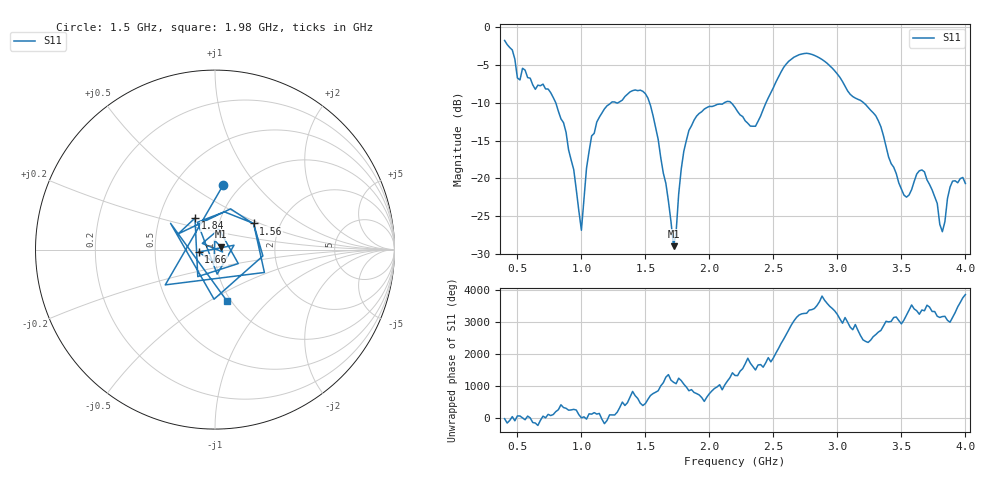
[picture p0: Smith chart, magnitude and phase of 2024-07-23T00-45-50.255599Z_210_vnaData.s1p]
!Created with skrf (http://scikit-rf.org).
# Hz S RI R 50.0
!freq ReS11 ImS11
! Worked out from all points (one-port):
!   181 points, 400 MHz to 4 GHz, reference 50 ohm
!   lowest |S11| = -29.0 dB at 1.72 GHz (marker M1), VSWR 1.07, Z = 53.2 + j1.74 ohm
!   |S11| at or under -10 dB: 800.1 MHz to 1.231 GHz (430.9 MHz wide, 42.4 % of centre); 1.533 GHz to 2.115 GHz (582.3 MHz wide, 31.9 % of centre); 3.206 GHz to end of sweep (the widest 3 of 5)
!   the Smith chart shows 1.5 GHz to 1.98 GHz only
!   S11 on the Smith chart (normalised r, x): 1.5 GHz: 0.83, +0.69; 1.56 GHz: 1.46, +0.46; 1.66 GHz: 0.83, -0.02; 1.84 GHz: 0.76, +0.28; 1.98 GHz: 0.96, -0.60
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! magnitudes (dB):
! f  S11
! 400 MHz  -1.7
! 460 MHz  -3.0
! 500 MHz  -6.7
! 740 MHz  -8.2
! 860 MHz  -12.6
! 940 MHz  -18.8
! 1 GHz  -26.8
! 1.04 GHz  -18.6
! 1.08 GHz  -14.4
! 1.3 GHz  -9.8
! 1.5 GHz  -8.8
! 1.56 GHz  -11.7
! 1.66 GHz  -20.7
! 1.72 GHz  -29.0
! 1.76 GHz  -22.1
! 1.84 GHz  -13.6
! 1.98 GHz  -10.6
! 2.2 GHz  -10.6
! 2.36 GHz  -13.1
! 2.66 GHz  -4.0
! 2.88 GHz  -4.3
! 3.1 GHz  -8.9
! 3.3 GHz  -11.7
! 3.56 GHz  -22.2
! 3.68 GHz  -19.1
! 3.82 GHz  -27.0
! 3.9 GHz  -20.3
! 4 GHz  -20.7
